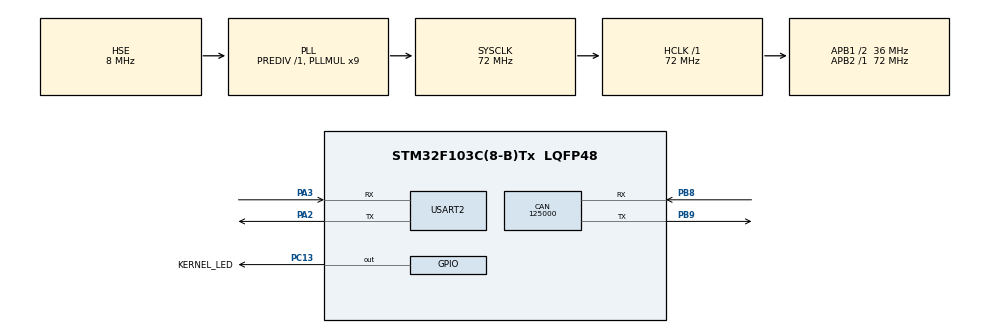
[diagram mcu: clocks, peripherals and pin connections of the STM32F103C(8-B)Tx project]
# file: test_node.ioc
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CAN.BS1=CAN_BS1_13TQ
CAN.BS2=CAN_BS2_4TQ
CAN.CalculateBaudRate=125000
CAN.CalculateTimeBit=7999.99
CAN.CalculateTimeQuantum=444.44444444444446
FREERTOS.Tasks01=defaultTask,24,128,StartDefaultTask,Default,NULL,Dynamic,NULL,NULL
FREERTOS.configUSE_NEWLIB_REENTRANT=1
Mcu.Family=STM32F1
Mcu.Name=STM32F103C(8-B)Tx
Mcu.Package=LQFP48
NVIC.PriorityGroup=NVIC_PRIORITYGROUP_4
NVIC.TIM1_UP_IRQn=true\:15\:0\:false\:false\:true\:false\:false\:true
NVIC.TimeBase=TIM1_UP_IRQn
NVIC.TimeBaseIP=TIM1
PA13.Mode=JTAG_5_pins
PA13.Signal=SYS_JTMS-SWDIO
PA14.Mode=JTAG_5_pins
PA14.Signal=SYS_JTCK-SWCLK
PA15.Mode=JTAG_5_pins
PA15.Signal=SYS_JTDI
PA2.Mode=Asynchronous
PA2.Signal=USART2_TX
PA3.Mode=Asynchronous
PA3.Signal=USART2_RX
PB3.Mode=JTAG_5_pins
PB3.Signal=SYS_JTDO-TRACESWO
PB4.Mode=JTAG_5_pins
PB4.Signal=SYS_NJTRST
PB8.Mode=CAN_Activate
PB8.Signal=CAN_RX
PB9.Mode=CAN_Activate
PB9.Signal=CAN_TX
PC13-TAMPER-RTC.GPIO_Label=KERNEL_LED
PC13-TAMPER-RTC.Signal=GPIO_Output
PC14-OSC32_IN.Mode=LSE-External-Oscillator
PC14-OSC32_IN.Signal=RCC_OSC32_IN
PC15-OSC32_OUT.Mode=LSE-External-Oscillator
PC15-OSC32_OUT.Signal=RCC_OSC32_OUT
PD0-OSC_IN.Mode=HSE-External-Oscillator
PD0-OSC_IN.Signal=RCC_OSC_IN
PD1-OSC_OUT.Mode=HSE-External-Oscillator
PD1-OSC_OUT.Signal=RCC_OSC_OUT
ProjectManager.HeapSize=0x200
ProjectManager.StackSize=0x400
ProjectManager.TargetToolchain=STM32CubeIDE
RCC.AHBFreq_Value=72000000
RCC.APB1CLKDivider=RCC_HCLK_DIV2
RCC.APB1Freq_Value=36000000
RCC.APB1TimFreq_Value=72000000
RCC.APB2Freq_Value=72000000
RCC.APB2TimFreq_Value=72000000
RCC.HCLKFreq_Value=72000000
RCC.PLLMUL=RCC_PLL_MUL9
RCC.PLLSourceVirtual=RCC_PLLSOURCE_HSE
RCC.SYSCLKFreq_VALUE=72000000
RCC.SYSCLKSource=RCC_SYSCLKSOURCE_PLLCLK
RCC.USBFreq_Value=72000000
USART2.VirtualMode=VM_ASYNC
VP_FREERTOS_VS_CMSIS_V2.Mode=CMSIS_V2
VP_SYS_VS_tim1.Mode=TIM1
board=custom

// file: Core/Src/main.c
/* USER CODE BEGIN Header */
/**
  ******************************************************************************
  * @file           : main.c
  * @brief          : Main program body
  ******************************************************************************
  * @attention
  *
  * <h2><center>&copy; Copyright (c) 2022 STMicroelectronics.
  * All rights reserved.</center></h2>
  *
  * This software component is licensed by ST under BSD 3-Clause license,
  * the "License"; You may not use this file except in compliance with the
  * License. You may obtain a copy of the License at:
  *                        opensource.org/licenses/BSD-3-Clause
  *
  ******************************************************************************
  */
/* USER CODE END Header */
#include "main.h"
#include "can.h"
#include "usart.h"
#include "gpio.h"

/* USER CODE BEGIN Includes */

#include "cmsis_os.h"

/* USER CODE END Includes */

void SystemClock_Config(void);
void MX_FREERTOS_Init(void);

int main(void)
{
  /* MCU Configuration--------------------------------------------------------*/

  /* Reset of all peripherals, Initializes the Flash interface and the Systick. */
  HAL_Init();

  /* Configure the system clock */
  SystemClock_Config();

  /* Initialize all configured peripherals */
  MX_GPIO_Init();
  MX_CAN_Init();
  MX_USART2_UART_Init();

  /* USER CODE BEGIN 2 */

  HAL_CAN_Start(&hcan);

  /* USER CODE END 2 */

  osKernelInitialize();
  MX_FREERTOS_Init();

  /* Start scheduler */
  osKernelStart();

  /* Infinite loop */
  while (1);
}

void SystemClock_Config(void)
{
  RCC_OscInitTypeDef RCC_OscInitStruct = {0};
  RCC_ClkInitTypeDef RCC_ClkInitStruct = {0};

  /** Initializes the RCC Oscillators according to the specified parameters
  * in the RCC_OscInitTypeDef structure.
  */
  RCC_OscInitStruct.OscillatorType = RCC_OSCILLATORTYPE_HSE;
  RCC_OscInitStruct.HSEState = RCC_HSE_ON;
  RCC_OscInitStruct.HSEPredivValue = RCC_HSE_PREDIV_DIV1;
  RCC_OscInitStruct.HSIState = RCC_HSI_ON;
  RCC_OscInitStruct.PLL.PLLState = RCC_PLL_ON;
  RCC_OscInitStruct.PLL.PLLSource = RCC_PLLSOURCE_HSE;
  RCC_OscInitStruct.PLL.PLLMUL = RCC_PLL_MUL9;
  if (HAL_RCC_OscConfig(&RCC_OscInitStruct) != HAL_OK)
  {
    Error_Handler();
  }
  /** Initializes the CPU, AHB and APB buses clocks
  */
  RCC_ClkInitStruct.ClockType = RCC_CLOCKTYPE_HCLK|RCC_CLOCKTYPE_SYSCLK
                              |RCC_CLOCKTYPE_PCLK1|RCC_CLOCKTYPE_PCLK2;
  RCC_ClkInitStruct.SYSCLKSource = RCC_SYSCLKSOURCE_PLLCLK;
  RCC_ClkInitStruct.AHBCLKDivider = RCC_SYSCLK_DIV1;
  RCC_ClkInitStruct.APB1CLKDivider = RCC_HCLK_DIV2;
  RCC_ClkInitStruct.APB2CLKDivider = RCC_HCLK_DIV1;

  if (HAL_RCC_ClockConfig(&RCC_ClkInitStruct, FLASH_LATENCY_2) != HAL_OK)
  {
    Error_Handler();
  }
}

void HAL_TIM_PeriodElapsedCallback(TIM_HandleTypeDef *htim)
{
  if (htim->Instance == TIM1) {
    HAL_IncTick();
  }
}

void Error_Handler(void)
{
  __disable_irq();
  while (1)
  {
  }
}

/************************ (C) COPYRIGHT STMicroelectronics *****END OF FILE****/

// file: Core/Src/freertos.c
/* USER CODE BEGIN Header */
/**
  ******************************************************************************
  * File Name          : freertos.c
  * Description        : Code for freertos applications
  ******************************************************************************
  * @attention
  *
  * <h2><center>&copy; Copyright (c) 2022 STMicroelectronics.
  * All rights reserved.</center></h2>
  *
  * This software component is licensed by ST under Ultimate Liberty license
  * SLA0044, the "License"; You may not use this file except in compliance with
  * the License. You may obtain a copy of the License at:
  *                             www.st.com/SLA0044
  *
  ******************************************************************************
  */
/* USER CODE END Header */

#include "FreeRTOS.h"
#include "task.h"
#include "main.h"
#include "cmsis_os.h"

/* USER CODE BEGIN Includes */

#include "xorshift.h"
#include "can.h"

/* USER CODE END Includes */

/* USER CODE BEGIN PTD */

typedef union FloatBytes {
	float float_value;
	uint8_t bytes[4];
} FloatBytes;

/* USER CODE END PTD */

/* USER CODE BEGIN PD */

#define DATA_LENGTH 			8
#define KERNEL_LED_DELAY 		1000

#define BATTERY_TX_DELAY 		1000
#define MOTOR_TX_DELAY 			1000

#define MAX_CAN_BATT_TX_DELAY   200
#define MAX_CAN_MOTOR_TX_DELAY  200

/* USER CODE END PD */

/* USER CODE BEGIN Variables */

osThreadId_t sendBatteryMsgHandle;
osThreadId_t sendMotorMsgHandle;
osThreadId_t kernelLEDHandle;

const osThreadAttr_t sendBatteryMsgAttr = {
    .name = "sendBatteryCANMsg",
    .priority = (osPriority_t) osPriorityHigh,
    .stack_size = 128 * 4
};

const osThreadAttr_t sendMotorMsgAttr = {
    .name = "sendMotorCANMsg",
    .priority = (osPriority_t) osPriorityHigh,
    .stack_size = 128 * 4
};

const osThreadAttr_t kernelLEDAttr = {
    .name = "kernelLED",
    .priority = (osPriority_t) osPriorityNormal,
    .stack_size = 128 * 4
};

union FloatBytes motor_temp;

HAL_StatusTypeDef status;

uint8_t error;
uint32_t can_mailbox;
uint32_t free_level;

uint16_t changing_soc = 0;

/* USER CODE END Variables */

/* USER CODE BEGIN FunctionPrototypes */

void sendBatteryMsg(void *argument);
void sendMotorMsg(void *argument);
void kernelLEDTask(void *argument);
void simMotorData(uint8_t* data, uint32_t id);
float rand_float(uint32_t max);
void addFloat(uint8_t* data, uint32_t max);

/* USER CODE END FunctionPrototypes */

void MX_FREERTOS_Init(void); /* (MISRA C 2004 rule 8.1) */

void MX_FREERTOS_Init(void) {

    /* USER CODE BEGIN RTOS_THREADS */

    sendBatteryMsgHandle = osThreadNew(sendBatteryMsg, NULL, &sendBatteryMsgAttr);
    sendMotorMsgHandle = osThreadNew(sendMotorMsg, NULL, &sendMotorMsgAttr);
    // kernelLEDHandle = osThreadNew(kernelLEDTask, NULL, &kernelLEDAttr);

    /* USER CODE END RTOS_THREADS */

}

/* USER CODE BEGIN Application */

__NO_RETURN void kernelLEDTask (void *argument) {

    while (1) {
        osKernelState_t kernel_status = osKernelGetState();

        if (kernel_status == osKernelRunning) {
            HAL_GPIO_TogglePin(KERNEL_LED_GPIO_Port, KERNEL_LED_Pin);
        }

        osDelay(KERNEL_LED_DELAY);
    }
}

__NO_RETURN void sendMotorMsg(void *argument) {
    CAN_TxHeaderTypeDef rand_header;

    uint8_t rand_data[8] = {0};
    uint32_t rand_index = 0;
    uint16_t rand_delay = MAX_CAN_MOTOR_TX_DELAY;

    while (1) {
        rand_index = rand(NUM_MOTOR_MSGS);
        rand_header = can_motor_headers[rand_index];

        simMotorData(&rand_data[0], rand_header.StdId);

        free_level = HAL_CAN_GetTxMailboxesFreeLevel(&hcan);

        status = HAL_CAN_AddTxMessage(&hcan, &rand_header, rand_data, &can_mailbox);

        if (status != HAL_OK) {
            error = 1;
        } else {
            HAL_GPIO_TogglePin(KERNEL_LED_GPIO_Port, KERNEL_LED_Pin);
        }

        rand_delay = rand(MAX_CAN_MOTOR_TX_DELAY);
        osDelay(rand_delay);
    }
}

typedef union IntBytes {
	uint16_t int_value;
	uint8_t bytes[2];
} IntBytes;

#define MAX_NUM_16_BIT 65536
#define MAX_FLOAT_50B 100
#define MAX_FLOAT_503 100
#define MAX_FLOAT_502 300

void addFloat(uint8_t* data, uint32_t max) {
	FloatBytes floatA = {0};
	FloatBytes floatB = {0};
	floatA.float_value = rand_float(max);
	floatB.float_value = rand_float(max);

	data[0] = floatA.bytes[0];
	data[1] = floatA.bytes[1];
	data[2] = floatA.bytes[2];
	data[3] = floatA.bytes[3];

	data[4] = floatB.bytes[0];
	data[5] = floatB.bytes[1];
	data[6] = floatB.bytes[2];
	data[7] = floatB.bytes[3];
}

void simMotorData(uint8_t* data, uint32_t id) {
	switch(id) {
		case 0x0502:
			addFloat(data, MAX_FLOAT_502);
			break;
		case 0x0503:
			addFloat(data, MAX_FLOAT_503);
			break;
		case 0x50B:
			addFloat(data, MAX_FLOAT_50B);
			break;
		case 0x0501:;
			IntBytes intA = {0};
			IntBytes intB = {0};
			IntBytes intC = {0};
			intA.int_value = rand(MAX_NUM_16_BIT);
			intB.int_value = rand(MAX_NUM_16_BIT);
			intC.int_value = rand(MAX_NUM_16_BIT);

			data[0] = intA.bytes[0];
			data[1] = intA.bytes[1];
			data[2] = intB.bytes[0];
			data[3] = intB.bytes[1];
			data[4] = intC.bytes[0];
			data[5] = intC.bytes[1];
			// data[6] and 7 are reserved
			break;
	};
}

float rand_float(uint32_t max) {
	return (rand(MAX_NUM_16_BIT) / (float) MAX_NUM_16_BIT) * max;
}

__NO_RETURN void sendBatteryMsg(void *argument) {
    CAN_TxHeaderTypeDef rand_header;

    uint8_t rand_data[8] = {0};
    uint32_t rand_index = 0;
    uint16_t rand_delay = MAX_CAN_BATT_TX_DELAY;

    uint8_t rand_soc = 0;

    while (1) {
        rand_index = rand(NUM_BATTERY_MSGS);
        rand_header = can_battery_headers[rand_index];

        if (rand_header.StdId == 0x626) {
            rand_soc = rand(100);
            rand_data[0] = rand_soc;
        } else {
            rand_array(&rand_data[0], 8);
        }

        free_level = HAL_CAN_GetTxMailboxesFreeLevel(&hcan);

        status = HAL_CAN_AddTxMessage(&hcan, &rand_header, rand_data, &can_mailbox);

        if (status != HAL_OK) {
            error = 1;
        } else {
            HAL_GPIO_TogglePin(KERNEL_LED_GPIO_Port, KERNEL_LED_Pin);
        }

        rand_delay = rand(MAX_CAN_BATT_TX_DELAY);
        osDelay(rand_delay);
    }
}

/* USER CODE END Application */

/************************ (C) COPYRIGHT STMicroelectronics *****END OF FILE****/
